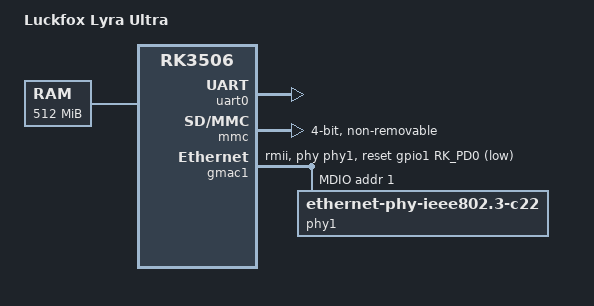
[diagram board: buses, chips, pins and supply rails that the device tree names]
// SPDX-License-Identifier: (GPL-2.0+ OR MIT)
/*
 * Luckfox Lyra Ultra (non-W: no WiFi/BT) on a mainline kernel.
 *
 * RK3506B / triple Cortex-A7 / 512MB DDR3 / eMMC. Minimal bring-up:
 * debug console on UART0 (0xff0a0000) and the on-board eMMC. Display,
 * Ethernet and the audio/CAN/flexbus blocks are intentionally left out
 * until their drivers land in mainline.
 */

/dts-v1/;

#include "rk3506.dtsi"

/ {
	model = "Luckfox Lyra Ultra";
	compatible = "rockchip,rk3506b-lyra-ultra", "rockchip,rk3506";

	aliases {
		serial0 = &uart0;
		mmc0 = &mmc;
	};

	chosen {
		stdout-path = "serial0:1500000n8";
	};

	memory@0 {
		device_type = "memory";
		reg = <0x0 0x20000000>;
	};
};

&uart0 {
	status = "okay";
};

&mmc {
	bus-width = <4>;
	/* SDR high-speed only. DDR52 reads were corrupting at init time (fsck
	 * clean but mount EBADMSG, U-Boot "No partition table") because mainline
	 * dw_mmc-rockchip has no rk3506 delay-line tuning, so DDR's tight timing
	 * margin fails. SDR samples on one clock edge = double the margin. */
	cap-mmc-highspeed;
	non-removable;
	no-sd;
	no-sdio;
	disable-wp;
	supports-emmc;
	pinctrl-names = "default";
	pinctrl-0 = <&sdmmc_clk_pins &sdmmc_cmd_pins &sdmmc_bus4_pins>;
	status = "okay";
};

&gmac1 {
	phy-mode = "rmii";
	clock_in_out = "output";
	snps,reset-gpio = <&gpio1 RK_PD0 GPIO_ACTIVE_LOW>;
	snps,reset-active-low;
	snps,reset-delays-us = <0 20000 100000>;
	pinctrl-names = "default";
	pinctrl-0 = <&rmii1_miim_pins &rmii1_clk_pins &rmii1_rx_pins &rmii1_tx_pins>;
	phy-handle = <&phy1>;
	status = "okay";

	mdio {
		compatible = "snps,dwmac-mdio";
		#address-cells = <1>;
		#size-cells = <0>;

		phy1: ethernet-phy@1 {
			compatible = "ethernet-phy-ieee802.3-c22";
			reg = <1>;
		};
	};
};
